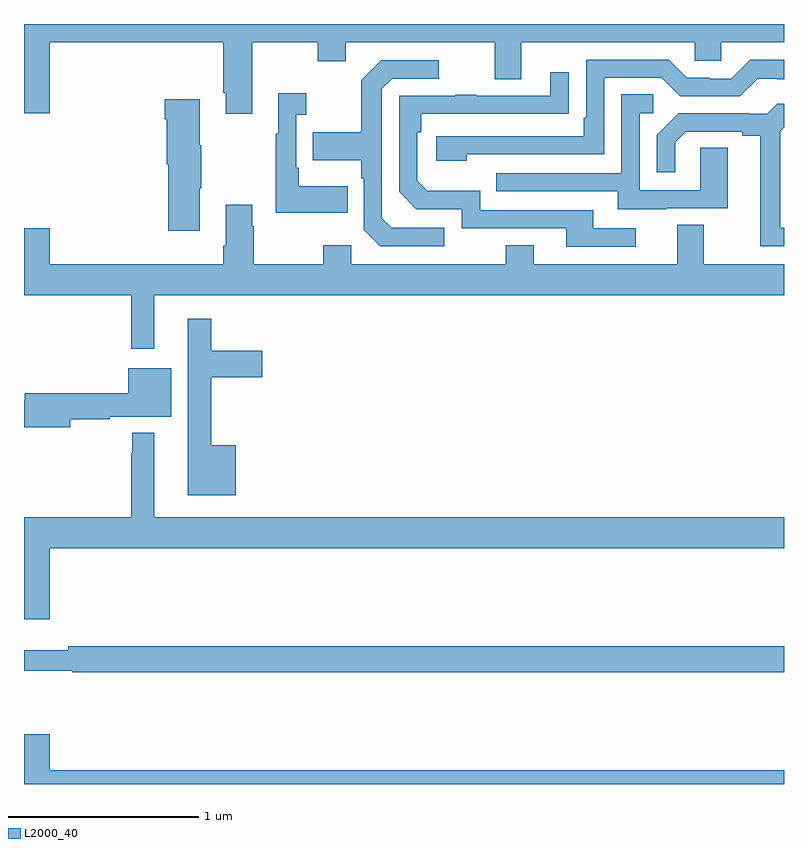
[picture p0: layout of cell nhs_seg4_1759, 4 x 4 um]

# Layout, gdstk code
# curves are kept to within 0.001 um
import gdstk
lib = gdstk.Library(unit=1e-6, precision=1e-09)
def P(c, l, *ps):  # polygons
    for p in ps: c.add(gdstk.Polygon(p, *l))
L2000_40 = (2000, 40)

nhs_seg4_1759 = lib.new_cell('nhs_seg4_1759')
P(nhs_seg4_1759, L2000_40, [(202.201,812.804),(202.546,812.804),(202.546,812.705),(202.693,812.705),(202.693,812.804),(203.477,812.804),(203.477,812.61),(203.617,812.61),(203.617,812.804),(204.531,812.804),(204.531,812.706),(204.669,812.706),(204.669,812.804),(205,812.804),(205,812.9),(201,812.9),(201,812.43),(201.136,812.43),(201.136,812.804),(202.049,812.804),(202.049,812.539),(202.061,812.539),(202.061,812.427),(202.201,812.427)],
  [(203.33,812.214),(204.054,812.214),(204.054,812.616),(204.357,812.616),(204.453,812.52),(204.768,812.52),(204.861,812.613),(204.961,812.613),(204.961,812.609),(205,812.609),(205,812.713),(204.823,812.713),(204.723,812.613),(204.608,812.613),(204.608,812.616),(204.489,812.616),(204.393,812.712),(203.958,812.712),(203.958,812.407),(203.945,812.407),(203.945,812.31),(203.169,812.31),(203.169,812.18),(203.33,812.18)],
  [(203.212,811.827),(202.935,811.827),(202.884,811.878),(202.884,812.559),(202.938,812.613),(203.182,812.613),(203.182,812.709),(202.881,812.709),(202.776,812.603),(202.776,812.331),(202.519,812.331),(202.519,812.183),(202.776,812.183),(202.776,812.087),(202.788,812.087),(202.788,811.818),(202.875,811.731),(203.212,811.731)],
  [(204.22,811.824),(203.995,811.824),(203.995,811.92),(203.4,811.92),(203.4,812.023),(203.123,812.023),(203.07,812.076),(203.07,812.33),(203.09,812.33),(203.09,812.427),(203.867,812.428),(203.867,812.647),(203.771,812.647),(203.771,812.523),(203.381,812.523),(203.381,812.528),(203.269,812.528),(203.269,812.523),(202.974,812.523),(202.974,812.016),(203.064,811.926),(203.304,811.926),(203.304,811.824),(203.855,811.824),(203.855,811.728),(204.22,811.728)],
  [(202.703,812.047),(202.447,812.047),(202.447,812.143),(202.434,812.143),(202.434,812.423),(202.486,812.423),(202.486,812.536),(202.337,812.536),(202.337,812.323),(202.326,812.323),(202.326,811.907),(202.703,811.907)],
  [(204.379,811.929),(204.703,811.929),(204.703,812.249),(204.558,812.249),(204.558,812.025),(204.24,812.025),(204.24,812.43),(204.313,812.43),(204.313,812.531),(204.144,812.531),(204.144,812.115),(203.485,812.115),(203.485,812.019),(204.125,812.019),(204.125,811.925),(204.379,811.925)],
  [(201.925,812.035),(201.933,812.035),(201.933,812.263),(201.925,812.263),(201.925,812.503),(201.74,812.503),(201.74,812.399),(201.752,812.399),(201.752,812.163),(201.758,812.163),(201.758,811.812),(201.925,811.812)],
  [(205,811.827),(204.979,811.827),(204.979,812.335),(205,812.356),(205,812.479),(204.964,812.479),(204.912,812.427),(204.818,812.427),(204.818,812.43),(204.446,812.43),(204.33,812.314),(204.33,812.121),(204.427,812.121),(204.427,812.277),(204.484,812.334),(204.779,812.334),(204.779,812.312),(204.875,812.312),(204.875,811.731),(205,811.731)],
  [(201.685,811.472),(205,811.472),(205,811.636),(204.577,811.636),(204.577,811.844),(204.437,811.844),(204.437,811.636),(203.683,811.636),(203.683,811.735),(203.536,811.735),(203.536,811.636),(202.722,811.636),(202.722,811.735),(202.576,811.735),(202.576,811.636),(202.209,811.636),(202.209,811.835),(202.201,811.835),(202.201,811.948),(202.061,811.948),(202.061,811.732),(202.049,811.732),(202.049,811.636),(201.136,811.636),(201.136,811.825),(201,811.825),(201,811.472),(201.564,811.472),(201.564,811.191),(201.685,811.191)],
  [(202.114,810.682),(201.985,810.682),(201.985,811.042),(202.255,811.042),(202.255,811.179),(201.985,811.179),(201.985,811.348),(201.863,811.348),(201.863,810.419),(202.114,810.419)],
  [(201.244,810.82),(201.452,810.82),(201.452,810.833),(201.775,810.833),(201.775,811.087),(201.548,811.087),(201.548,810.956),(201.005,810.956),(201.005,810.92),(201,810.92),(201,810.778),(201.244,810.778)],
  [(201.136,810.14),(205,810.14),(205,810.304),(201.685,810.304),(201.685,810.748),(201.57,810.748),(201.57,810.641),(201.564,810.641),(201.564,810.304),(201,810.304),(201,809.766),(201.136,809.766)],
  [(205,809.624),(201.232,809.624),(201.232,809.605),(201,809.605),(201,809.496),(201.255,809.496),(201.255,809.488),(205,809.488)],
  [(205,808.972),(201.136,808.972),(201.136,809.161),(201,809.161),(201,808.9),(205,808.9)])

lib.write_gds('nhs_seg4_1759.gds')
